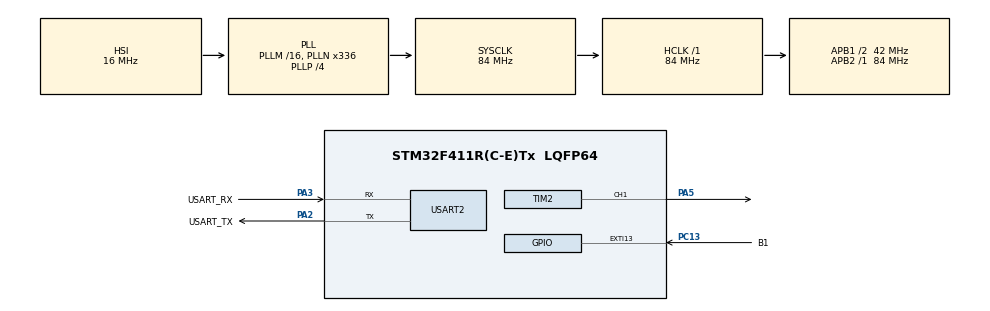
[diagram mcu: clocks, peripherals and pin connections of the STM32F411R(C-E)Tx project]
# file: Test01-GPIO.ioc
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Mcu.Family=STM32F4
Mcu.Name=STM32F411R(C-E)Tx
Mcu.Package=LQFP64
NVIC.EXTI15_10_IRQn=true\:0\:0\:false\:false\:true\:true\:true\:true
NVIC.PriorityGroup=NVIC_PRIORITYGROUP_0
NVIC.TIM3_IRQn=true\:0\:0\:false\:false\:true\:true\:true\:true
PA13.GPIO_Label=TMS
PA13.Mode=Serial_Wire
PA13.Signal=SYS_JTMS-SWDIO
PA14.GPIO_Label=TCK
PA14.Mode=Serial_Wire
PA14.Signal=SYS_JTCK-SWCLK
PA2.GPIO_Label=USART_TX
PA2.Mode=Asynchronous
PA2.Signal=USART2_TX
PA3.GPIO_Label=USART_RX
PA3.Mode=Asynchronous
PA3.Signal=USART2_RX
PA5.Signal=S_TIM2_CH1_ETR
PB3.GPIO_Label=SWO
PB3.Signal=SYS_JTDO-SWO
PC13-ANTI_TAMP.GPIO_Label=B1
PC13-ANTI_TAMP.GPIO_ModeDefaultEXTI=GPIO_MODE_IT_RISING
PC13-ANTI_TAMP.Signal=GPXTI13
PC14-OSC32_IN.Mode=LSE-External-Oscillator
PC14-OSC32_IN.Signal=RCC_OSC32_IN
PC15-OSC32_OUT.Mode=LSE-External-Oscillator
PC15-OSC32_OUT.Signal=RCC_OSC32_OUT
PH0\ -\ OSC_IN.Mode=HSE-External-Clock-Source
PH0\ -\ OSC_IN.Signal=RCC_OSC_IN
PH1\ -\ OSC_OUT.Mode=HSE-External-Clock-Source
PH1\ -\ OSC_OUT.Signal=RCC_OSC_OUT
ProjectManager.HeapSize=0x200
ProjectManager.StackSize=0x400
ProjectManager.TargetToolchain=STM32CubeIDE
RCC.48MHZClocksFreq_Value=84000000
RCC.AHBFreq_Value=84000000
RCC.APB1CLKDivider=RCC_HCLK_DIV2
RCC.APB1Freq_Value=42000000
RCC.APB1TimFreq_Value=84000000
RCC.APB2Freq_Value=84000000
RCC.APB2TimFreq_Value=84000000
RCC.CortexFreq_Value=84000000
RCC.FLatency-AdvancedSettings=FLASH_LATENCY_2
RCC.HCLKFreq_Value=84000000
RCC.HSE_VALUE=8000000
RCC.HSI_VALUE=16000000
RCC.PLLN=336
RCC.PLLP=RCC_PLLP_DIV4
RCC.SYSCLKFreq_VALUE=84000000
RCC.SYSCLKSource=RCC_SYSCLKSOURCE_PLLCLK
RCC.VCOOutputFreq_Value=336000000
SH.S_TIM2_CH1_ETR.0=TIM2_CH1,PWM Generation1 CH1
TIM2.Channel-PWM\ Generation1\ CH1=TIM_CHANNEL_1
TIM2.Period=1000-1
TIM2.Prescaler=84-1
TIM3.Period=5000-1
TIM3.Prescaler=8400-1
TIM5.Period=4294967295-1
TIM5.Prescaler=84-1
USART2.VirtualMode=VM_ASYNC
VP_TIM2_VS_ClockSourceINT.Mode=Internal
VP_TIM3_VS_ClockSourceINT.Mode=Internal
VP_TIM5_VS_ClockSourceINT.Mode=Internal
board=NUCLEO-F411RE

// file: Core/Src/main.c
/* USER CODE BEGIN Header */
/**
  ******************************************************************************
  * @file           : main.c
  * @brief          : Main program body
  ******************************************************************************
  * @attention
  *
  * Copyright (c) 2023 STMicroelectronics.
  * All rights reserved.
  *
  * This software is licensed under terms that can be found in the LICENSE file
  * in the root directory of this software component.
  * If no LICENSE file comes with this software, it is provided AS-IS.
  *
  ******************************************************************************
  */
/* USER CODE END Header */
#include "main.h"

TIM_HandleTypeDef htim2;
TIM_HandleTypeDef htim3;
TIM_HandleTypeDef htim5;

UART_HandleTypeDef huart2;

void SystemClock_Config(void);
static void MX_GPIO_Init(void);
static void MX_USART2_UART_Init(void);
static void MX_TIM3_Init(void);
static void MX_TIM5_Init(void);
static void MX_TIM2_Init(void);

/* USER CODE BEGIN 0 */
#define STEP 10
int val = 0;
int gap = 0; // along the vall value / untill ARR / dodal
int flag = 0;
void HAL_GPIO_EXTI_Callback(uint16_t GPIO_Pin)
{
  if(val++ > 10) val = 0;
//  val = HAL_GPIO_ReadPin(B1_GPIO_Port, B1_Pin);
//  val += 1;
//  if(val++ > 4) val = 0; // val 0~5
//  flag = !flag;
}
int cnt = 0;
void HAL_TIM_PeriodElapsedCallback(TIM_HandleTypeDef *htim)
{
  //HAL_GPIO_TogglePin(LD2_GPIO_Port, LD2_Pin);
//  HAL_Delay(10);
//  myDelay(10000);
//  printf("\033[10;30HTimer3...%d\n", cnt++);
}
void myDelay(int interval) // microsecond delay, interval: microsecond
{
  volatile int start = htim5.Instance->CNT;
  while(1)
  {
//    int cur = htim5.Instance->CNT;
//    if(interval < cur-start)
//      break;
//    return;
//    if(interval < htim5.Instance->CNT - start) return;
    volatile int cur = htim5.Instance->CNT;
    if(cur - start > interval) return;
  }
}
int __io_putchar(int ch)
{
  HAL_UART_Transmit(&huart2, &ch, 1, 10);
  return ch;
}
//int __io_getchar(void)
/* USER CODE END 0 */

int main(void)
{

  /* MCU Configuration--------------------------------------------------------*/

  /* Reset of all peripherals, Initializes the Flash interface and the Systick. */
  HAL_Init();

  /* Configure the system clock */
  SystemClock_Config();

  /* Initialize all configured peripherals */
  MX_GPIO_Init();
  MX_USART2_UART_Init();
  MX_TIM3_Init();
  MX_TIM5_Init();
  MX_TIM2_Init();
  /* USER CODE BEGIN 2 */
  //printf("\033[1JProgram started...!\r\n", 0x1b);
  //printf("\033[1;1HWOW...!\r\n", 0x1b);
  //HAL_TIM_Base_Start_IT(&htim3);
  gap = htim2.Instance->ARR / STEP;
  HAL_TIM_Base_Start(&htim5);
  HAL_TIM_PWM_Start(&htim2, TIM_CHANNEL_1);
  /* USER CODE END 2 */

  /* Infinite loop */
  /* USER CODE BEGIN WHILE */
  //int i = 0;
  //int flag = 1;
  int ccr = 0;
  while (1)
  {
    /* USER CODE END WHILE */

    /* USER CODE BEGIN 3 */
    htim2.Instance->CCR1 = val * gap;
    printf("ccr: %d \r\n",ccr);
//    if(val > STEP) ccr = 0;
    myDelay(10000);
  }
  /* USER CODE END 3 */
}

void SystemClock_Config(void)
{
  RCC_OscInitTypeDef RCC_OscInitStruct = {0};
  RCC_ClkInitTypeDef RCC_ClkInitStruct = {0};

  /** Configure the main internal regulator output voltage
  */
  __HAL_RCC_PWR_CLK_ENABLE();
  __HAL_PWR_VOLTAGESCALING_CONFIG(PWR_REGULATOR_VOLTAGE_SCALE1);

  /** Initializes the RCC Oscillators according to the specified parameters
  * in the RCC_OscInitTypeDef structure.
  */
  RCC_OscInitStruct.OscillatorType = RCC_OSCILLATORTYPE_HSI;
  RCC_OscInitStruct.HSIState = RCC_HSI_ON;
  RCC_OscInitStruct.HSICalibrationValue = RCC_HSICALIBRATION_DEFAULT;
  RCC_OscInitStruct.PLL.PLLState = RCC_PLL_ON;
  RCC_OscInitStruct.PLL.PLLSource = RCC_PLLSOURCE_HSI;
  RCC_OscInitStruct.PLL.PLLM = 16;
  RCC_OscInitStruct.PLL.PLLN = 336;
  RCC_OscInitStruct.PLL.PLLP = RCC_PLLP_DIV4;
  RCC_OscInitStruct.PLL.PLLQ = 4;
  if (HAL_RCC_OscConfig(&RCC_OscInitStruct) != HAL_OK)
  {
    Error_Handler();
  }

  /** Initializes the CPU, AHB and APB buses clocks
  */
  RCC_ClkInitStruct.ClockType = RCC_CLOCKTYPE_HCLK|RCC_CLOCKTYPE_SYSCLK
                              |RCC_CLOCKTYPE_PCLK1|RCC_CLOCKTYPE_PCLK2;
  RCC_ClkInitStruct.SYSCLKSource = RCC_SYSCLKSOURCE_PLLCLK;
  RCC_ClkInitStruct.AHBCLKDivider = RCC_SYSCLK_DIV1;
  RCC_ClkInitStruct.APB1CLKDivider = RCC_HCLK_DIV2;
  RCC_ClkInitStruct.APB2CLKDivider = RCC_HCLK_DIV1;

  if (HAL_RCC_ClockConfig(&RCC_ClkInitStruct, FLASH_LATENCY_2) != HAL_OK)
  {
    Error_Handler();
  }
}

static void MX_TIM2_Init(void)
{

  TIM_ClockConfigTypeDef sClockSourceConfig = {0};
  TIM_MasterConfigTypeDef sMasterConfig = {0};
  TIM_OC_InitTypeDef sConfigOC = {0};

  htim2.Instance = TIM2;
  htim2.Init.Prescaler = 84-1;
  htim2.Init.CounterMode = TIM_COUNTERMODE_UP;
  htim2.Init.Period = 1000-1;
  htim2.Init.ClockDivision = TIM_CLOCKDIVISION_DIV1;
  htim2.Init.AutoReloadPreload = TIM_AUTORELOAD_PRELOAD_DISABLE;
  if (HAL_TIM_Base_Init(&htim2) != HAL_OK)
  {
    Error_Handler();
  }
  sClockSourceConfig.ClockSource = TIM_CLOCKSOURCE_INTERNAL;
  if (HAL_TIM_ConfigClockSource(&htim2, &sClockSourceConfig) != HAL_OK)
  {
    Error_Handler();
  }
  if (HAL_TIM_PWM_Init(&htim2) != HAL_OK)
  {
    Error_Handler();
  }
  sMasterConfig.MasterOutputTrigger = TIM_TRGO_RESET;
  sMasterConfig.MasterSlaveMode = TIM_MASTERSLAVEMODE_DISABLE;
  if (HAL_TIMEx_MasterConfigSynchronization(&htim2, &sMasterConfig) != HAL_OK)
  {
    Error_Handler();
  }
  sConfigOC.OCMode = TIM_OCMODE_PWM1;
  sConfigOC.Pulse = 0;
  sConfigOC.OCPolarity = TIM_OCPOLARITY_HIGH;
  sConfigOC.OCFastMode = TIM_OCFAST_DISABLE;
  if (HAL_TIM_PWM_ConfigChannel(&htim2, &sConfigOC, TIM_CHANNEL_1) != HAL_OK)
  {
    Error_Handler();
  }
  HAL_TIM_MspPostInit(&htim2);

}

static void MX_TIM3_Init(void)
{

  TIM_ClockConfigTypeDef sClockSourceConfig = {0};
  TIM_MasterConfigTypeDef sMasterConfig = {0};

  htim3.Instance = TIM3;
  htim3.Init.Prescaler = 8400-1;
  htim3.Init.CounterMode = TIM_COUNTERMODE_UP;
  htim3.Init.Period = 5000-1;
  htim3.Init.ClockDivision = TIM_CLOCKDIVISION_DIV1;
  htim3.Init.AutoReloadPreload = TIM_AUTORELOAD_PRELOAD_DISABLE;
  if (HAL_TIM_Base_Init(&htim3) != HAL_OK)
  {
    Error_Handler();
  }
  sClockSourceConfig.ClockSource = TIM_CLOCKSOURCE_INTERNAL;
  if (HAL_TIM_ConfigClockSource(&htim3, &sClockSourceConfig) != HAL_OK)
  {
    Error_Handler();
  }
  sMasterConfig.MasterOutputTrigger = TIM_TRGO_RESET;
  sMasterConfig.MasterSlaveMode = TIM_MASTERSLAVEMODE_DISABLE;
  if (HAL_TIMEx_MasterConfigSynchronization(&htim3, &sMasterConfig) != HAL_OK)
  {
    Error_Handler();
  }

}

static void MX_TIM5_Init(void)
{

  TIM_ClockConfigTypeDef sClockSourceConfig = {0};
  TIM_MasterConfigTypeDef sMasterConfig = {0};

  htim5.Instance = TIM5;
  htim5.Init.Prescaler = 84-1;
  htim5.Init.CounterMode = TIM_COUNTERMODE_UP;
  htim5.Init.Period = 4294967295-1;
  htim5.Init.ClockDivision = TIM_CLOCKDIVISION_DIV1;
  htim5.Init.AutoReloadPreload = TIM_AUTORELOAD_PRELOAD_DISABLE;
  if (HAL_TIM_Base_Init(&htim5) != HAL_OK)
  {
    Error_Handler();
  }
  sClockSourceConfig.ClockSource = TIM_CLOCKSOURCE_INTERNAL;
  if (HAL_TIM_ConfigClockSource(&htim5, &sClockSourceConfig) != HAL_OK)
  {
    Error_Handler();
  }
  sMasterConfig.MasterOutputTrigger = TIM_TRGO_RESET;
  sMasterConfig.MasterSlaveMode = TIM_MASTERSLAVEMODE_DISABLE;
  if (HAL_TIMEx_MasterConfigSynchronization(&htim5, &sMasterConfig) != HAL_OK)
  {
    Error_Handler();
  }

}

static void MX_USART2_UART_Init(void)
{

  huart2.Instance = USART2;
  huart2.Init.BaudRate = 115200;
  huart2.Init.WordLength = UART_WORDLENGTH_8B;
  huart2.Init.StopBits = UART_STOPBITS_1;
  huart2.Init.Parity = UART_PARITY_NONE;
  huart2.Init.Mode = UART_MODE_TX_RX;
  huart2.Init.HwFlowCtl = UART_HWCONTROL_NONE;
  huart2.Init.OverSampling = UART_OVERSAMPLING_16;
  if (HAL_UART_Init(&huart2) != HAL_OK)
  {
    Error_Handler();
  }

}

static void MX_GPIO_Init(void)
{
  GPIO_InitTypeDef GPIO_InitStruct = {0};

  /* GPIO Ports Clock Enable */
  __HAL_RCC_GPIOC_CLK_ENABLE();
  __HAL_RCC_GPIOH_CLK_ENABLE();
  __HAL_RCC_GPIOA_CLK_ENABLE();
  __HAL_RCC_GPIOB_CLK_ENABLE();

  /*Configure GPIO pin : B1_Pin */
  GPIO_InitStruct.Pin = B1_Pin;
  GPIO_InitStruct.Mode = GPIO_MODE_IT_RISING;
  GPIO_InitStruct.Pull = GPIO_NOPULL;
  HAL_GPIO_Init(B1_GPIO_Port, &GPIO_InitStruct);

  /* EXTI interrupt init*/
  HAL_NVIC_SetPriority(EXTI15_10_IRQn, 0, 0);
  HAL_NVIC_EnableIRQ(EXTI15_10_IRQn);

}

void Error_Handler(void)
{
  __disable_irq();
  while (1)
  {
  }
}
